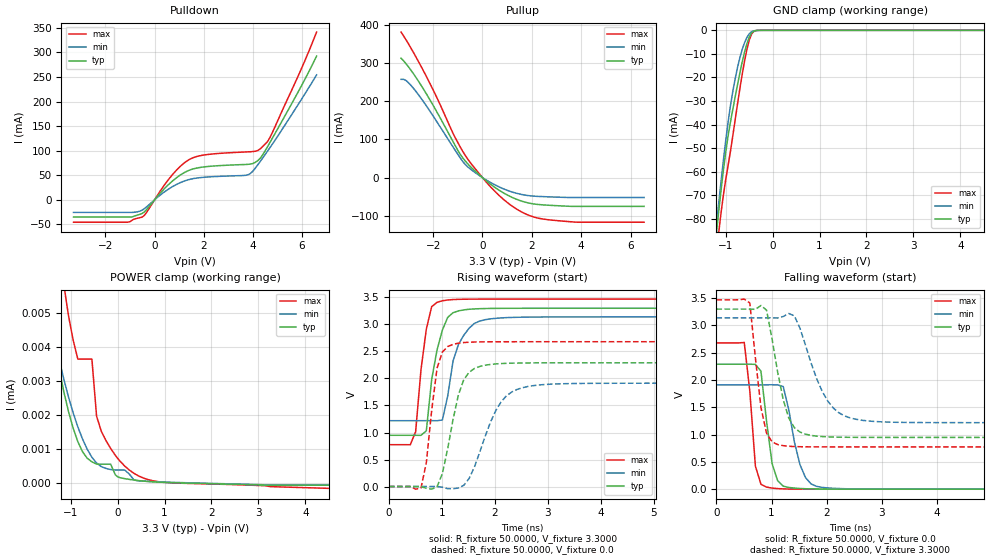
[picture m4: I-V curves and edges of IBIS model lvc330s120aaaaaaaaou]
| [Disclaimer] This IBIS source code is intended as a design reference
| which illustrates how the Lattice Semiconductor device operates.
| It is the user's responsibility to verify their design for
| consistency and functionality through the use of formal
| verification methods.  Lattice Semiconductor provides no warranty
| regarding the use or functionality of this data.
| [Copyright] Copyright 2007 by Lattice Semiconductor Corporation
| From PROJ500_PDU_FPGA_SE~.ibs, XO2, Lattice Semiconductor Corp.
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[Model]   lvc330s120aaaaaaaaou
Model_type   Output
Polarity   Non-Inverting
Enable   Active-Low
Vmeas =   1.500000V
Cref =   0.0F
Rref =   1.0000M
Vref =   0.0V
C_comp   4.2000pF   3.8000pF   7.5000pF
[Temperature Range]   25.0000   0.1250k   -40.0000
[Voltage Range]   3.3000V   3.1400V   3.4700V
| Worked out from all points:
|   slope of the pulldown table from 0 to 0.495 V, typ, clamps not added: 17.9 ohm
|   slope of the pullup table from 0 to 0.495 V, typ, clamps not added: 19.6 ohm
|   GND clamp passes 1 mA (typ) near -0.44 V on its own axis
|   rising waveform, R_fixture 50.0000, V_fixture 3.3000: 20-80 % time 244ps typ, 294ps min, 180ps max; typ from 0.948 V to 3.3 V
|   rising waveform, R_fixture 50.0000, V_fixture 0.0: 20-80 % time 304ps typ, 473ps min, 186ps max; typ from 0 V to 2.29 V
|   falling waveform, R_fixture 50.0000, V_fixture 0.0: 20-80 % time 168ps typ, 249ps min, 132ps max; typ from 2.29 V to 0 V
|   falling waveform, R_fixture 50.0000, V_fixture 3.3000: 20-80 % time 283ps typ, 451ps min, 193ps max; typ from 3.3 V to 0.948 V
[Pulldown]
|Voltage   I(typ)   I(min)   I(max)
-3.3V     -35.06mA   -25.56mA   -45.46mA
-1.1V     -35.06mA   -25.56mA   -45.46mA
-500mV    -27.6mA    -20.84mA   -35.05mA
600mV     32.61mA    22.93mA    43.45mA
1.4V      60.04mA    41.26mA    81.68mA
2.1V      67.54mA    46.31mA    91.93mA
3.8V      72.28mA    50.96mA    97.72mA
4.3V      84.4mA     77.91mA    103.6mA
4.6V      108mA      99.08mA    118.6mA
4.8V      125.6mA    113.5mA    137.2mA
5.9V      224.5mA    198mA      257.8mA
6.6V      292.7mA    254.4mA    341.5mA
[Pullup]
|Voltage   I(typ)   I(min)   I(max)
-3.3V     312.9mA    257.6mA    381.4mA
-3.1V     298.6mA    254.5mA    361.3mA
-2.6V     253.3mA    217.7mA    304.9mA
-1.2V     95.13mA    80.94mA    116.9mA
-800mV    51.73mA    42.33mA    68.75mA
-500mV    29.64mA    22.8mA     39.61mA
200mV     -10.87mA   -8.125mA   -15.16mA
1V        -45.47mA   -33.26mA   -64.98mA
1.7V      -63.84mA   -45.59mA   -93.77mA
2.5V      -71.72mA   -49.99mA   -109.1mA
3.8V      -75.49mA   -52.1mA    -116.8mA
6.55V     -75.49mA   -52.1mA    -116.9mA
[GND_clamp]
|Voltage   I(typ)   I(min)   I(max)
-3.3V     -955.3mA   -930.3mA   -978mA
-1.2V     -86.18mA   -82.93mA   -94.91mA
-1.15V    -76.73mA   -73.29mA   -85.74mA
-1.1V     -67.71mA   -63.95mA   -77.28mA
-1V       -51.52mA   -46.57mA   -63.21mA
-900mV    -38.87mA   -31.88mA   -51.26mA
-800mV    -28.25mA   -20.58mA   -37.97mA
-700mV    -18.1mA    -11.63mA   -24.81mA
-600mV    -9.267mA   -5.265mA   -13.06mA
-450mV    -1.181mA   -586.6uA   -1.592mA
-250mV    -3.532uA   -4.055uA   -3.003uA
6.6V      0A         0A         0A
[POWER_clamp]
|Voltage   I(typ)   I(min)   I(max)
-3.25V    664.8uA    749.4uA    597.1uA
-1.55V    5.915uA    5.713uA    11.4uA
-1.45V    4.988uA    4.975uA    9.752uA
-1.15V    2.704uA    3.074uA    5.864uA
-850mV    1.227uA    1.662uA    3.655uA
-550mV    632.1nA    767.3nA    3.655uA
-450mV    564.4nA    596.3nA    1.977uA
-150mV    564.4nA    405.1nA    1.026uA
0V        190.5nA    391.9nA    734.7nA
450mV     79.23nA    72.94nA    213.9nA
950mV     30.32nA    38.42nA    33.55nA
6.6V      -57.56nA   -49.34nA   -232.5nA
[Ramp]
| variable   typ   min   max
dV/dt_r  1.3741/0.3012n   1.1475/0.4684n   1.6081/0.1845n
dV/dt_f  1.4109/0.2806n   1.1527/0.4461n   1.6174/0.1908n
R_load = 50.0000
[Rising Waveform]
R_fixture=   50.0000
V_fixture=   3.3000
V_fixture_min=   3.1400
V_fixture_max=   3.4700
|time   V(typ)   V(min)   V(max)
0s        948.5mV    1.219V     774.4mV
404ps     948.5mV    1.219V     773.7mV
505.1ps   948.6mV    1.219V     1.014V
606.1ps   947.4mV    1.219V     2.161V
707.1ps   1.032V     1.219V     2.914V
808.1ps   1.981V     1.219V     3.33V
1.01ns    2.895V     1.232V     3.439V
1.313ns   3.251V     2.63V      3.465V
1.818ns   3.295V     3.088V     3.47V
10ns      3.3V       3.14V      3.47V
[Rising Waveform]
R_fixture=   50.0000
V_fixture=   0.0
V_fixture_min=   0.0
V_fixture_max=   0.0
|time   V(typ)   V(min)   V(max)
0s        612.2nV    810.3nV    586nV
606.1ps   -814.1uV   2.155uV    -28.5mV
707.1ps   -31.91mV   19.12uV    442.4mV
909.1ps   -3.978mV   -498.9uV   2.189V
1.01ns    240.4mV    -12.47mV   2.489V
1.212ns   1.244V     -41.1mV    2.631V
1.515ns   2.115V     148mV      2.671V
2.02ns    2.27V      1.408V     2.68V
2.525ns   2.287V     1.83V      2.68V
10ns      2.29V      1.913V     2.68V
[Falling Waveform]
R_fixture=   50.0000
V_fixture=   0.0
V_fixture_min=   0.0
V_fixture_max=   0.0
|time   V(typ)   V(min)   V(max)
0s        2.29V      1.913V     2.68V
505.1ps   2.29V      1.913V     2.689V
707.1ps   2.288V     1.913V     423.2mV
808.1ps   2.161V     1.913V     89.39mV
909.1ps   1.25V      1.913V     38.11mV
1.111ns   154.6mV    1.911V     10.1mV
1.212ns   54.48mV    1.881V     5.298mV
1.515ns   12.41mV    450.5mV    742.1uV
1.818ns   3.109mV    50.96mV    174.6uV
10ns      3.259uV    2.082uV    -608.2nV
[Falling Waveform]
R_fixture=   50.0000
V_fixture=   3.3000
V_fixture_min=   3.1400
V_fixture_max=   3.4700
|time   V(typ)   V(min)   V(max)
0s        3.3V       3.14V      3.47V
606.1ps   3.301V     3.14V      3.413V
808.1ps   3.366V     3.14V      1.496V
909.1ps   3.282V     3.14V      1.025V
1.111ns   2.142V     3.137V     816.9mV
1.212ns   1.64V      3.165V     797mV
1.414ns   1.125V     3.177V     781mV
2.02ns    958.8mV    1.614V     774.6mV
2.525ns   949.9mV    1.282V     774.5mV
10ns      948.5mV    1.219V     774.4mV
